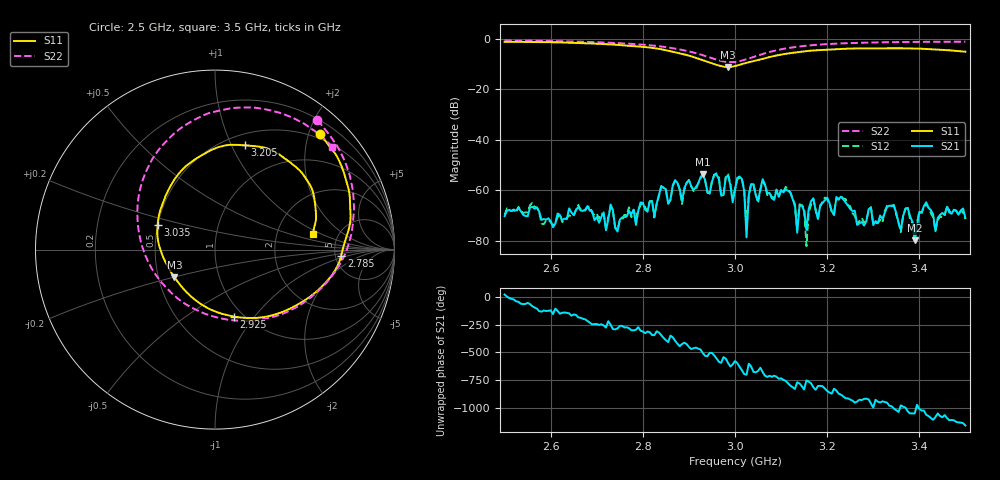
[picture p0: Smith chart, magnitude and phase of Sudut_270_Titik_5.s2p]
# Hz S RI R 50
! CMT, C1220, 16058040, 17.2.0/1
! Date: 15/08/2018 10:27:04
! Data: Format (Calibration Info)
! Freq  S11: Re/Im (F2)  S21: Re/Im (F2)  S12: Re/Im (F2)  S22: Re/Im (F2)
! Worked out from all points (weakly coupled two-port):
!   201 points, 2.5 GHz to 3.5 GHz, reference 50 ohm
!   highest |S21| = -53.60 dB at 2.93 GHz (marker M1); lowest = -79.8 dB at 3.39 GHz (marker M2)
!   lowest |S11| = -11.2 dB at 2.985 GHz (marker M3), VSWR 1.76, Z = 30.3 - j10.1 ohm
!   |S11| at or under -10 dB: 2.954 GHz to 3.017 GHz (62.96 MHz wide, 2.11 % of centre)
!   |S22| runs from -9.3 to -0.7 dB; largest |S21 - S12| = 0.00017
!   S11 on the Smith chart (normalised r, x): 2.5 GHz: 0.42, +2.19; 2.785 GHz: 5.65, -0.78; 2.925 GHz: 0.90, -0.79; 3.035 GHz: 0.50, +0.16; 3.205 GHz: 0.62, +1.13; 3.5 GHz: 3.23, +0.80
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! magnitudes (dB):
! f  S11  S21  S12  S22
! 2.5 GHz  -1.2  -70.2  -69.8  -0.7
! 2.67 GHz  -1.8  -68.2  -67.6  -1.3
! 2.785 GHz  -3.0  -73.7  -71.0  -2.2
! 2.835 GHz  -4.1  -61.8  -62.3  -3.0
! 2.925 GHz  -8.2  -54.9  -55.5  -6.3
! 2.93 GHz  -8.6  -53.6  -53.8  -6.6
! 2.985 GHz  -11.2  -54.2  -53.7  -9.3
! 3 GHz  -10.9  -59.9  -59.5  -9.3
! 3.015 GHz  -10.1  -55.6  -55.7  -8.7
! 3.025 GHz  -9.6  -78.7  -74.5  -8.2
! 3.035 GHz  -9.2  -57.6  -57.6  -7.6
! 3.11 GHz  -6.0  -59.7  -58.6  -3.9
! 3.135 GHz  -5.4  -76.8  -75.2  -3.2
! 3.15 GHz  -5.0  -68.1  -67.1  -2.9
! 3.155 GHz  -4.9  -75.6  -82.1  -2.8
! 3.17 GHz  -4.7  -63.2  -63.6  -2.6
! 3.205 GHz  -4.4  -65.0  -65.1  -2.1
! 3.335 GHz  -3.8  -66.1  -66.1  -1.4
! 3.39 GHz  -3.9  -79.8  -80.3  -1.3
! 3.415 GHz  -4.1  -64.8  -65.6  -1.3
! 3.435 GHz  -4.3  -76.2  -76.1  -1.3
! 3.5 GHz  -5.2  -71.0  -71.4  -1.2
